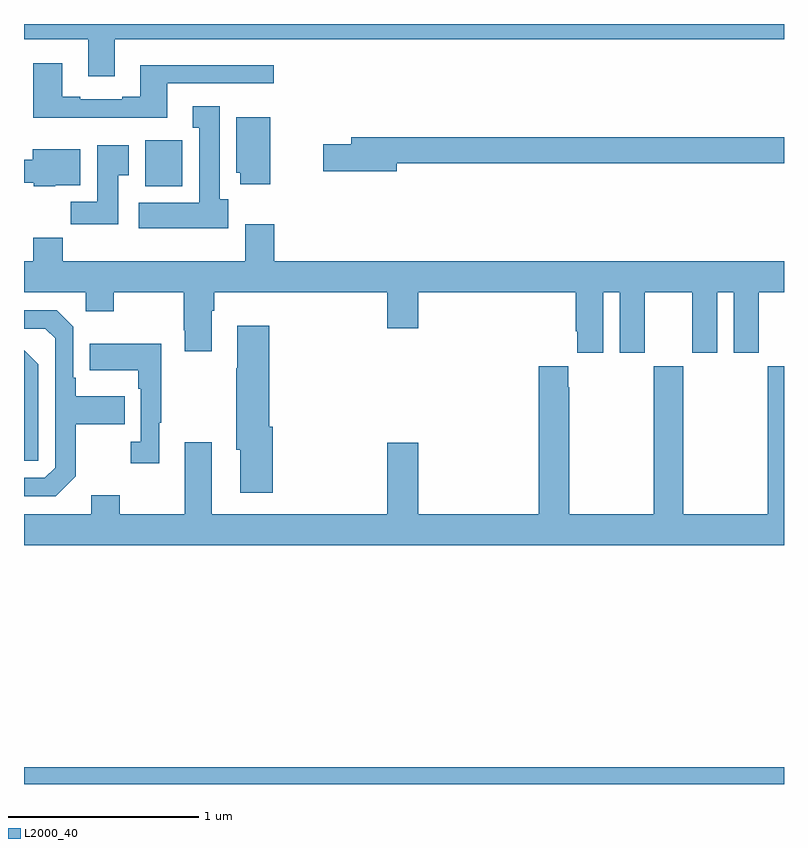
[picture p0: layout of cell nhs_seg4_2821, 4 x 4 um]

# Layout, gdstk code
import gdstk
lib = gdstk.Library(unit=1e-6, precision=1e-09)
def R(c, l, rs):  # rectangles x0, y0, x1, y1
    for r in rs: c.add(gdstk.rectangle(r[:2], r[2:], *l))
def P(c, l, *ps):  # polygons
    for p in ps: c.add(gdstk.Polygon(p, *l))
L2000_40 = (2000, 40)

nhs_seg4_2821 = lib.new_cell('nhs_seg4_2821')
R(nhs_seg4_2821, L2000_40, [(259,792.9,263,792.988), (259.637,796.046,259.834,796.288)])
P(nhs_seg4_2821, L2000_40, [(259.477,796.82),(263,796.82),(263,796.9),(259,796.9),(259,796.82),(259.337,796.82),(259.337,796.626),(259.477,796.626)],
  [(259.753,796.587),(260.314,796.587),(260.314,796.684),(259.613,796.684),(259.613,796.516),(259.517,796.516),(259.517,796.503),(259.297,796.503),(259.297,796.516),(259.201,796.516),(259.201,796.693),(259.049,796.693),(259.049,796.406),(259.753,796.406)],
  [(260.074,795.978),(260.029,795.978),(260.029,796.468),(259.889,796.468),(259.889,796.355),(259.922,796.355),(259.922,795.958),(259.605,795.958),(259.605,795.824),(260.074,795.824)],
  [(260.296,796.408),(260.117,796.408),(260.117,796.116),(260.138,796.116),(260.138,796.056),(260.296,796.056)],
  [(260.962,796.168),(263,796.168),(263,796.304),(260.723,796.304),(260.723,796.268),(260.574,796.268),(260.574,796.126),(260.962,796.126)],
  [(259.495,796.105),(259.552,796.105),(259.552,796.261),(259.385,796.261),(259.385,795.964),(259.246,795.964),(259.246,795.846),(259.495,795.846)],
  [(259.164,796.052),(259.297,796.052),(259.297,796.24),(259.046,796.24),(259.046,796.186),(259,796.186),(259,796.064),(259.05,796.064),(259.05,796.046),(259.164,796.046)],
  [(260.318,795.847),(260.165,795.847),(260.165,795.652),(259.205,795.652),(259.205,795.776),(259.049,795.776),(259.049,795.652),(259,795.652),(259,795.488),(259.326,795.488),(259.326,795.389),(259.473,795.389),(259.473,795.488),(259.84,795.488),(259.84,795.289),(259.847,795.289),(259.847,795.177),(259.987,795.177),(259.987,795.392),(260,795.392),(260,795.488),(260.912,795.488),(260.912,795.3),(261.076,795.3),(261.076,795.488),(261.904,795.488),(261.904,795.283),(261.911,795.283),(261.911,795.171),(262.048,795.171),(262.048,795.488),(262.136,795.488),(262.136,795.171),(262.267,795.171),(262.267,795.488),(262.517,795.488),(262.517,795.171),(262.648,795.171),(262.648,795.488),(262.736,795.488),(262.736,795.171),(262.867,795.171),(262.867,795.488),(263,795.488),(263,795.652),(260.318,795.652)],
  [(259.273,794.521),(259.273,794.794),(259.529,794.794),(259.529,794.941),(259.273,794.941),(259.273,795.037),(259.26,795.037),(259.26,795.306),(259.173,795.393),(259,795.393),(259,795.297),(259.113,795.297),(259.164,795.246),(259.164,794.565),(259.11,794.511),(259,794.511),(259,794.415),(259.167,794.415)],
  [(260.309,794.781),(260.291,794.781),(260.291,795.313),(260.123,795.313),(260.123,795.089),(260.116,795.089),(260.116,794.658),(260.138,794.658),(260.138,794.433),(260.309,794.433)],
  [(259.711,794.801),(259.723,794.801),(259.723,795.217),(259.345,795.217),(259.345,795.077),(259.602,795.077),(259.602,794.981),(259.614,794.981),(259.614,794.702),(259.563,794.702),(259.563,794.589),(259.711,794.589)],
  [(259.074,795.108),(259,795.182),(259,794.601),(259.074,794.601)],
  [(263,795.1),(262.915,795.1),(262.915,794.32),(262.47,794.32),(262.47,795.1),(262.315,795.1),(262.315,794.32),(261.87,794.32),(261.87,794.987),(261.865,794.987),(261.865,795.1),(261.71,795.1),(261.71,794.32),(261.076,794.32),(261.076,794.695),(260.912,794.695),(260.912,794.32),(259.987,794.32),(259.987,794.698),(259.847,794.698),(259.847,794.32),(259.503,794.32),(259.503,794.419),(259.355,794.419),(259.355,794.32),(259,794.32),(259,794.156),(263,794.156)])

lib.write_gds('nhs_seg4_2821.gds')
